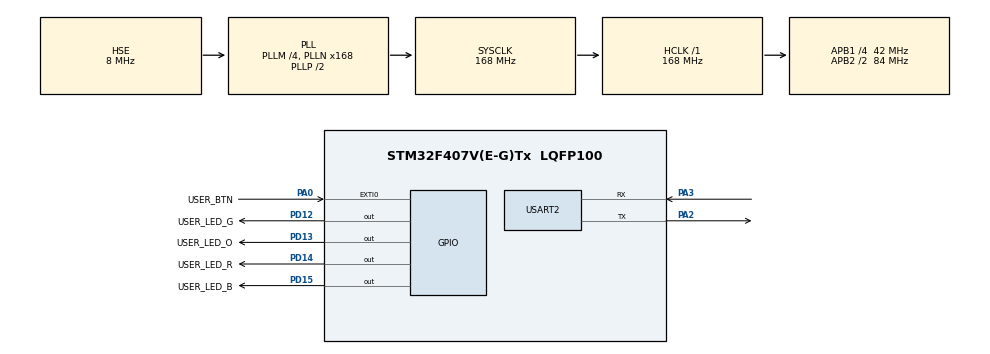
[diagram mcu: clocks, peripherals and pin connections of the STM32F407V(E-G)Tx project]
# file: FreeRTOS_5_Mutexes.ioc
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FREERTOS.Mutexes01=CMSIS_Mutex,Dynamic,NULL
FREERTOS.Tasks01=PeriodicTask,0,128,PeriodicTaskFnc,Default,NULL,Dynamic,NULL,NULL
FREERTOS.configLIBRARY_MAX_SYSCALL_INTERRUPT_PRIORITY=5
Mcu.Family=STM32F4
Mcu.Name=STM32F407V(E-G)Tx
Mcu.Package=LQFP100
NVIC.EXTI0_IRQn=true\:6\:0\:true\:false\:false\:false\:true\:false
NVIC.PriorityGroup=NVIC_PRIORITYGROUP_4
NVIC.TIM1_UP_TIM10_IRQn=true\:0\:0\:false\:false\:true\:false\:false\:true
NVIC.TimeBase=TIM1_UP_TIM10_IRQn
NVIC.TimeBaseIP=TIM1
NVIC.USART2_IRQn=true\:5\:0\:true\:false\:true\:true\:true\:true
PA0-WKUP.GPIO_Label=USER_BTN
PA0-WKUP.Signal=GPXTI0
PA2.Mode=Asynchronous
PA2.Signal=USART2_TX
PA3.Mode=Asynchronous
PA3.Signal=USART2_RX
PD12.GPIO_Label=USER_LED_G
PD12.Signal=GPIO_Output
PD13.GPIO_Label=USER_LED_O
PD13.Signal=GPIO_Output
PD14.GPIO_Label=USER_LED_R
PD14.Signal=GPIO_Output
PD15.GPIO_Label=USER_LED_B
PD15.Signal=GPIO_Output
PH0-OSC_IN.Mode=HSE-External-Oscillator
PH0-OSC_IN.Signal=RCC_OSC_IN
PH1-OSC_OUT.Mode=HSE-External-Oscillator
PH1-OSC_OUT.Signal=RCC_OSC_OUT
ProjectManager.HeapSize=0x200
ProjectManager.StackSize=0x400
ProjectManager.TargetToolchain=STM32CubeIDE
RCC.48MHZClocksFreq_Value=48000000
RCC.AHBFreq_Value=168000000
RCC.APB1CLKDivider=RCC_HCLK_DIV4
RCC.APB1Freq_Value=42000000
RCC.APB1TimFreq_Value=84000000
RCC.APB2CLKDivider=RCC_HCLK_DIV2
RCC.APB2Freq_Value=84000000
RCC.APB2TimFreq_Value=168000000
RCC.CortexFreq_Value=168000000
RCC.HCLKFreq_Value=168000000
RCC.HSE_VALUE=8000000
RCC.HSI_VALUE=16000000
RCC.LSE_VALUE=32768
RCC.PLLM=4
RCC.PLLN=168
RCC.PLLQ=7
RCC.PLLSourceVirtual=RCC_PLLSOURCE_HSE
RCC.SYSCLKFreq_VALUE=168000000
RCC.SYSCLKSource=RCC_SYSCLKSOURCE_PLLCLK
RCC.VCOOutputFreq_Value=336000000
USART2.VirtualMode=VM_ASYNC
VP_FREERTOS_VS_CMSIS_V1.Mode=CMSIS_V1
VP_SYS_VS_tim1.Mode=TIM1
board=STM32F407G-DISC1

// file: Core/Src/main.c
/* USER CODE BEGIN Header */
/**
  ******************************************************************************
  * @file           : main.c
  * @brief          : Main program body
  ******************************************************************************
  * @attention
  *
  * <h2><center>&copy; Copyright (c) 2020 STMicroelectronics.
  * All rights reserved.</center></h2>
  *
  * This software component is licensed by ST under BSD 3-Clause license,
  * the "License"; You may not use this file except in compliance with the
  * License. You may obtain a copy of the License at:
  *                        opensource.org/licenses/BSD-3-Clause
  *
  ******************************************************************************
  */
/* USER CODE END Header */
#include "main.h"
#include "cmsis_os.h"

/* USER CODE BEGIN Includes */

#include "string.h"
#include "stdio.h"

/* USER CODE END Includes */

UART_HandleTypeDef huart2;

osThreadId PeriodicTaskHandle;
osMutexId CMSIS_MutexHandle;
/* USER CODE BEGIN PV */
SemaphoreHandle_t FreeRTOS_Mutex;
/* USER CODE END PV */

void SystemClock_Config(void);
static void MX_GPIO_Init(void);
static void MX_USART2_UART_Init(void);
void PeriodicTaskFnc(void const * argument);

/* USER CODE BEGIN PFP */
void FreeRTOS_TaskHandle(void * argument);

void UartPrint(char* message);
/* USER CODE END PFP */

int main(void)
{

  /* MCU Configuration--------------------------------------------------------*/

  /* Reset of all peripherals, Initializes the Flash interface and the Systick. */
  HAL_Init();

  /* Configure the system clock */
  SystemClock_Config();

  /* Initialize all configured peripherals */
  MX_GPIO_Init();
  MX_USART2_UART_Init();

  /* Create the mutex(es) */
  /* definition and creation of CMSIS_Mutex */
  osMutexDef(CMSIS_Mutex);
  CMSIS_MutexHandle = osMutexCreate(osMutex(CMSIS_Mutex));

  /* USER CODE BEGIN RTOS_MUTEX */

  FreeRTOS_Mutex = xSemaphoreCreateMutex();

  /* add mutexes, ... */
  /* USER CODE END RTOS_MUTEX */

  /* Create the thread(s) */
  /* definition and creation of PeriodicTask */
  osThreadDef(PeriodicTask, PeriodicTaskFnc, osPriorityNormal, 0, 128);
  PeriodicTaskHandle = osThreadCreate(osThread(PeriodicTask), NULL);

  /* USER CODE BEGIN RTOS_THREADS */

   xTaskCreate(FreeRTOS_TaskHandle, "FreeRTOS_Task" , 128, NULL, 0, NULL);

  /* add threads, ... */
  /* USER CODE END RTOS_THREADS */

  /* Start scheduler */
  osKernelStart();

  /* We should never get here as control is now taken by the scheduler */
  /* Infinite loop */
  while (1)
  {

  }
}

void SystemClock_Config(void)
{
  RCC_OscInitTypeDef RCC_OscInitStruct = {0};
  RCC_ClkInitTypeDef RCC_ClkInitStruct = {0};

  /** Configure the main internal regulator output voltage
  */
  __HAL_RCC_PWR_CLK_ENABLE();
  __HAL_PWR_VOLTAGESCALING_CONFIG(PWR_REGULATOR_VOLTAGE_SCALE1);
  /** Initializes the RCC Oscillators according to the specified parameters
  * in the RCC_OscInitTypeDef structure.
  */
  RCC_OscInitStruct.OscillatorType = RCC_OSCILLATORTYPE_HSE;
  RCC_OscInitStruct.HSEState = RCC_HSE_ON;
  RCC_OscInitStruct.PLL.PLLState = RCC_PLL_ON;
  RCC_OscInitStruct.PLL.PLLSource = RCC_PLLSOURCE_HSE;
  RCC_OscInitStruct.PLL.PLLM = 4;
  RCC_OscInitStruct.PLL.PLLN = 168;
  RCC_OscInitStruct.PLL.PLLP = RCC_PLLP_DIV2;
  RCC_OscInitStruct.PLL.PLLQ = 7;
  if (HAL_RCC_OscConfig(&RCC_OscInitStruct) != HAL_OK)
  {
    Error_Handler();
  }
  /** Initializes the CPU, AHB and APB buses clocks
  */
  RCC_ClkInitStruct.ClockType = RCC_CLOCKTYPE_HCLK|RCC_CLOCKTYPE_SYSCLK
                              |RCC_CLOCKTYPE_PCLK1|RCC_CLOCKTYPE_PCLK2;
  RCC_ClkInitStruct.SYSCLKSource = RCC_SYSCLKSOURCE_PLLCLK;
  RCC_ClkInitStruct.AHBCLKDivider = RCC_SYSCLK_DIV1;
  RCC_ClkInitStruct.APB1CLKDivider = RCC_HCLK_DIV4;
  RCC_ClkInitStruct.APB2CLKDivider = RCC_HCLK_DIV2;

  if (HAL_RCC_ClockConfig(&RCC_ClkInitStruct, FLASH_LATENCY_5) != HAL_OK)
  {
    Error_Handler();
  }
}

static void MX_USART2_UART_Init(void)
{

  huart2.Instance = USART2;
  huart2.Init.BaudRate = 115200;
  huart2.Init.WordLength = UART_WORDLENGTH_8B;
  huart2.Init.StopBits = UART_STOPBITS_1;
  huart2.Init.Parity = UART_PARITY_NONE;
  huart2.Init.Mode = UART_MODE_TX_RX;
  huart2.Init.HwFlowCtl = UART_HWCONTROL_NONE;
  huart2.Init.OverSampling = UART_OVERSAMPLING_16;
  if (HAL_UART_Init(&huart2) != HAL_OK)
  {
    Error_Handler();
  }

}

static void MX_GPIO_Init(void)
{
  GPIO_InitTypeDef GPIO_InitStruct = {0};

  /* GPIO Ports Clock Enable */
  __HAL_RCC_GPIOH_CLK_ENABLE();
  __HAL_RCC_GPIOA_CLK_ENABLE();
  __HAL_RCC_GPIOD_CLK_ENABLE();

  /*Configure GPIO pin Output Level */
  HAL_GPIO_WritePin(GPIOD, USER_LED_G_Pin|USER_LED_O_Pin|USER_LED_R_Pin|USER_LED_B_Pin, GPIO_PIN_RESET);

  /*Configure GPIO pin : USER_BTN_Pin */
  GPIO_InitStruct.Pin = USER_BTN_Pin;
  GPIO_InitStruct.Mode = GPIO_MODE_IT_RISING;
  GPIO_InitStruct.Pull = GPIO_NOPULL;
  HAL_GPIO_Init(USER_BTN_GPIO_Port, &GPIO_InitStruct);

  /*Configure GPIO pins : USER_LED_G_Pin USER_LED_O_Pin USER_LED_R_Pin USER_LED_B_Pin */
  GPIO_InitStruct.Pin = USER_LED_G_Pin|USER_LED_O_Pin|USER_LED_R_Pin|USER_LED_B_Pin;
  GPIO_InitStruct.Mode = GPIO_MODE_OUTPUT_PP;
  GPIO_InitStruct.Pull = GPIO_NOPULL;
  GPIO_InitStruct.Speed = GPIO_SPEED_FREQ_LOW;
  HAL_GPIO_Init(GPIOD, &GPIO_InitStruct);

  /* EXTI interrupt init*/
  HAL_NVIC_SetPriority(EXTI0_IRQn, 6, 0);
  HAL_NVIC_EnableIRQ(EXTI0_IRQn);

}

/* USER CODE BEGIN 4 */

void FreeRTOS_TaskHandle(void* argument)
{
	char message[50];
	int i=0;

	for(;;)
	{

		snprintf(message,sizeof(message),"Task2 is running: %d\r\n",i);
//		osMutexWait(FreeRTOS_Mutex, osWaitForever); // CMSIS RTOS fonksiyonu.
		xSemaphoreTake(FreeRTOS_Mutex,portMAX_DELAY);
		UartPrint(message);
		xSemaphoreGive(FreeRTOS_Mutex);
//		osMutexRelease(CMSIS_MutexHandle); // CMSIS RTOS fonksiyonu.
		i++;
		vTaskDelay(pdMS_TO_TICKS(1000));
	}

}

void UartPrint(char* message)
{
	HAL_UART_Transmit(&huart2, (uint8_t*)message, strlen(message), 20);
}
/* USER CODE END 4 */

void PeriodicTaskFnc(void const * argument)
{
  /* USER CODE BEGIN 5 */
  /* Infinite loop */
	char message[50];
	int i=0;

	for(;;)
	{

		snprintf(message,sizeof(message),"Task1 is running: %d\r\n",i);
		xSemaphoreTake(FreeRTOS_Mutex,portMAX_DELAY);
		UartPrint(message);
		xSemaphoreGive(FreeRTOS_Mutex);
		i++;
		vTaskDelay(pdMS_TO_TICKS(1000));
	}
  /* USER CODE END 5 */
}

void HAL_TIM_PeriodElapsedCallback(TIM_HandleTypeDef *htim)
{
  if (htim->Instance == TIM1) {
    HAL_IncTick();
  }
}

void Error_Handler(void)
{
}

/************************ (C) COPYRIGHT STMicroelectronics *****END OF FILE****/
